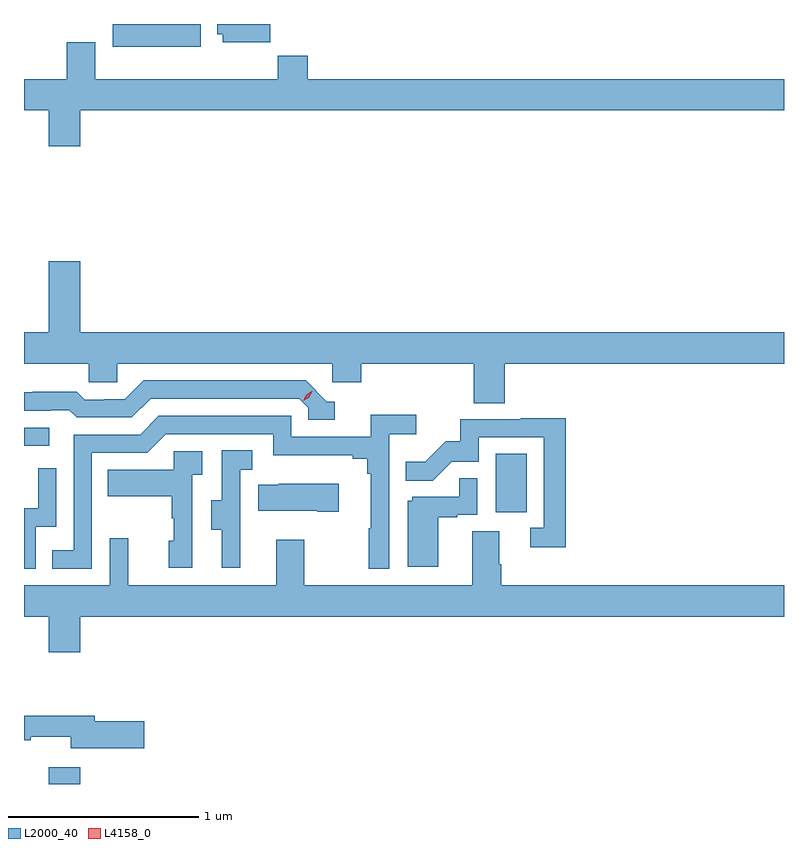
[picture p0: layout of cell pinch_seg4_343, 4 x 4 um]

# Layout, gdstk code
import gdstk
lib = gdstk.Library(unit=1e-6, precision=1e-09)
def R(c, l, rs):  # rectangles x0, y0, x1, y1
    for r in rs: c.add(gdstk.rectangle(r[:2], r[2:], *l))
def P(c, l, *ps):  # polygons
    for p in ps: c.add(gdstk.Polygon(p, *l))
L2000_40 = (2000, 40)
L4158_0 = (4158, 0)

pinch_seg4_343 = lib.new_cell('pinch_seg4_343')
R(pinch_seg4_343, L2000_40, [(1004.168,799.935,1004.332,800.023), (1006.52,801.366,1006.684,801.673), (1004.037,801.714,1004.17,801.81), (1004.504,803.816,1004.968,803.935)])
P(pinch_seg4_343, L2000_40, [(1005.332,803.935),(1005.053,803.935),(1005.053,803.882),(1005.083,803.882),(1005.083,803.838),(1005.332,803.838)],
  [(1004.332,803.48),(1008.037,803.48),(1008.037,803.644),(1005.53,803.644),(1005.53,803.768),(1005.373,803.768),(1005.373,803.644),(1004.413,803.644),(1004.413,803.839),(1004.261,803.839),(1004.261,803.644),(1004.037,803.644),(1004.037,803.48),(1004.168,803.48),(1004.168,803.292),(1004.332,803.292)],
  [(1006.568,802.148),(1008.037,802.148),(1008.037,802.312),(1004.332,802.312),(1004.332,802.687),(1004.168,802.687),(1004.168,802.312),(1004.037,802.312),(1004.037,802.148),(1004.379,802.148),(1004.379,802.05),(1004.529,802.05),(1004.529,802.148),(1005.66,802.148),(1005.66,802.05),(1005.812,802.05),(1005.812,802.148),(1006.403,802.148),(1006.403,801.94),(1006.568,801.94)],
  [(1005.673,801.948),(1005.63,801.948),(1005.519,802.059),(1004.666,802.059),(1004.567,801.96),(1004.46,801.96),(1004.46,801.957),(1004.357,801.957),(1004.315,802),(1004.082,802),(1004.082,801.997),(1004.037,801.997),(1004.037,801.9),(1004.177,801.9),(1004.177,801.903),(1004.276,801.903),(1004.315,801.864),(1004.604,801.864),(1004.703,801.963),(1005.486,801.963),(1005.534,801.915),(1005.534,801.852),(1005.673,801.852)],
  [(1004.394,801.678),(1004.685,801.678),(1004.784,801.777),(1005.348,801.777),(1005.348,801.665),(1005.767,801.665),(1005.767,801.646),(1005.844,801.646),(1005.844,801.569),(1005.863,801.569),(1005.863,801.281),(1005.852,801.281),(1005.852,801.069),(1005.96,801.069),(1005.96,801.776),(1006.102,801.776),(1006.102,801.878),(1005.863,801.878),(1005.863,801.762),(1005.444,801.762),(1005.444,801.873),(1004.747,801.873),(1004.648,801.774),(1004.298,801.774),(1004.298,801.165),(1004.185,801.165),(1004.185,801.069),(1004.394,801.069)],
  [(1006.889,801.86),(1006.651,801.86),(1006.651,801.855),(1006.333,801.855),(1006.333,801.738),(1006.256,801.738),(1006.149,801.631),(1006.045,801.631),(1006.045,801.532),(1006.189,801.532),(1006.287,801.63),(1006.431,801.63),(1006.431,801.759),(1006.773,801.759),(1006.773,801.285),(1006.701,801.285),(1006.701,801.18),(1006.889,801.18)],
  [(1005.176,801.285),(1005.174,801.285),(1005.174,801.589),(1005.238,801.589),(1005.238,801.692),(1005.078,801.692),(1005.078,801.429),(1005.023,801.429),(1005.023,801.274),(1005.077,801.274),(1005.077,801.072),(1005.176,801.072)],
  [(1004.922,801.563),(1004.974,801.563),(1004.974,801.687),(1004.826,801.687),(1004.826,801.589),(1004.479,801.589),(1004.479,801.449),(1004.814,801.449),(1004.814,801.335),(1004.824,801.335),(1004.824,801.216),(1004.798,801.216),(1004.798,801.072),(1004.922,801.072)],
  [(1004.1,801.288),(1004.208,801.288),(1004.208,801.598),(1004.112,801.598),(1004.112,801.386),(1004.037,801.386),(1004.037,801.069),(1004.1,801.069)],
  [(1006.216,801.339),(1006.316,801.339),(1006.316,801.351),(1006.422,801.351),(1006.422,801.545),(1006.327,801.545),(1006.327,801.447),(1006.08,801.447),(1006.08,801.426),(1006.058,801.426),(1006.058,801.078),(1006.216,801.078)],
  [(1005.694,801.514),(1005.379,801.514),(1005.379,801.511),(1005.271,801.511),(1005.271,801.374),(1005.581,801.374),(1005.581,801.367),(1005.694,801.367)],
  [(1004.332,800.816),(1008.037,800.816),(1008.037,800.98),(1006.55,800.98),(1006.55,801.092),(1006.537,801.092),(1006.537,801.266),(1006.397,801.266),(1006.397,800.98),(1005.513,800.98),(1005.513,801.22),(1005.365,801.22),(1005.365,800.98),(1004.585,800.98),(1004.585,801.229),(1004.487,801.229),(1004.487,800.98),(1004.037,800.98),(1004.037,800.816),(1004.168,800.816),(1004.168,800.628),(1004.332,800.628)],
  [(1004.671,800.264),(1004.41,800.264),(1004.41,800.293),(1004.037,800.293),(1004.037,800.164),(1004.072,800.164),(1004.072,800.183),(1004.282,800.183),(1004.282,800.122),(1004.671,800.122)])
P(pinch_seg4_343, L4158_0, [(1005.508,801.951),(1005.508,801.951),(1005.523,801.984),(1005.554,802.004),(1005.554,802.004),(1005.554,802.003),(1005.538,801.971),(1005.508,801.951)])

lib.write_gds('pinch_seg4_343.gds')
